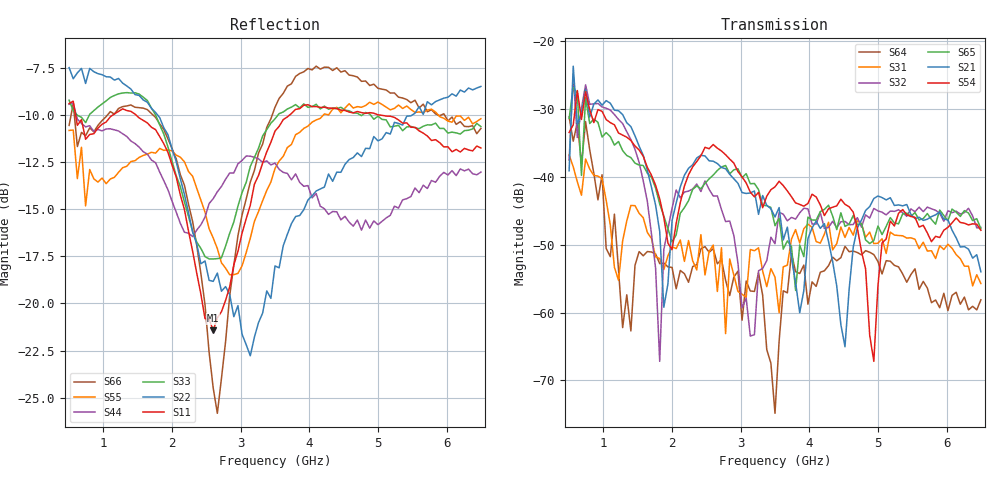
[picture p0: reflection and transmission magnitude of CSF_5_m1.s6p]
!Keysight Technologies,M9804A,MY58100912,A.14.10.03
!Date: Thursday, April 27, 2023 10:28:33
!Correction: S11(C  6-Port  )
!S12(C  6-Port  )
!S13(C  6-Port  )
!S14(C  6-Port  )
!S15(C  6-Port  )
!S16(C  6-Port  )
!S21(C  6-Port  )
!S22(C  6-Port  )
!S23(C  6-Port  )
!S24(C  6-Port  )
!S25(C  6-Port  )
!S26(C  6-Port  )
!S31(C  6-Port  )
!S32(C  6-Port  )
!S33(C  6-Port  )
!S34(C  6-Port  )
!S35(C  6-Port  )
!S36(C  6-Port  )
!S41(C  6-Port  )
!S42(C  6-Port  )
!S43(C  6-Port  )
!S44(C  6-Port  )
!S45(C  6-Port  )
!S46(C  6-Port  )
!S51(C  6-Port  )
!S52(C  6-Port  )
!S53(C  6-Port  )
!S54(C  6-Port  )
!S55(C  6-Port  )
!S56(C  6-Port  )
!S61(C  6-Port  )
!S62(C  6-Port  )
!S63(C  6-Port  )
!S64(C  6-Port  )
!S65(C  6-Port  )
!S66(C  6-Port  )
!S6P File: Measurement: :
# Hz S  RI  R 50
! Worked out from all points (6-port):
!   101 points, 500 MHz to 6.5 GHz, reference 50 ohm
!   strongest paths, dB at 500 MHz, 2 GHz, 3.5 GHz, 5 GHz, 6.5 GHz:
!     S54: -33.4, -50.7, -41.5, -56.1, -47.9
!     S21: -39.1, -46.4, -45.9, -42.8, -54.0
!     S65: -31.4, -49.6, -47.2, -47.2, -47.6
!     S32: -37.5, -44.6, -49.9, -45.0, -47.5
!     S31: -36.8, -50.3, -54.8, -49.8, -55.7
!     S64: -31.2, -53.3, -74.9, -52.5, -58.1
!   lowest |S11| = -21.4 dB at 2.6 GHz (marker M1), VSWR 1.19, Z = 42.5 + j2.29 ohm
!   |S11| at or under -10 dB: 593.6 MHz to 1.143 GHz (549.3 MHz wide, 63.3 % of centre); 1.47 GHz to 3.718 GHz (2.248 GHz wide, 86.7 % of centre); 4.996 GHz to end of sweep
